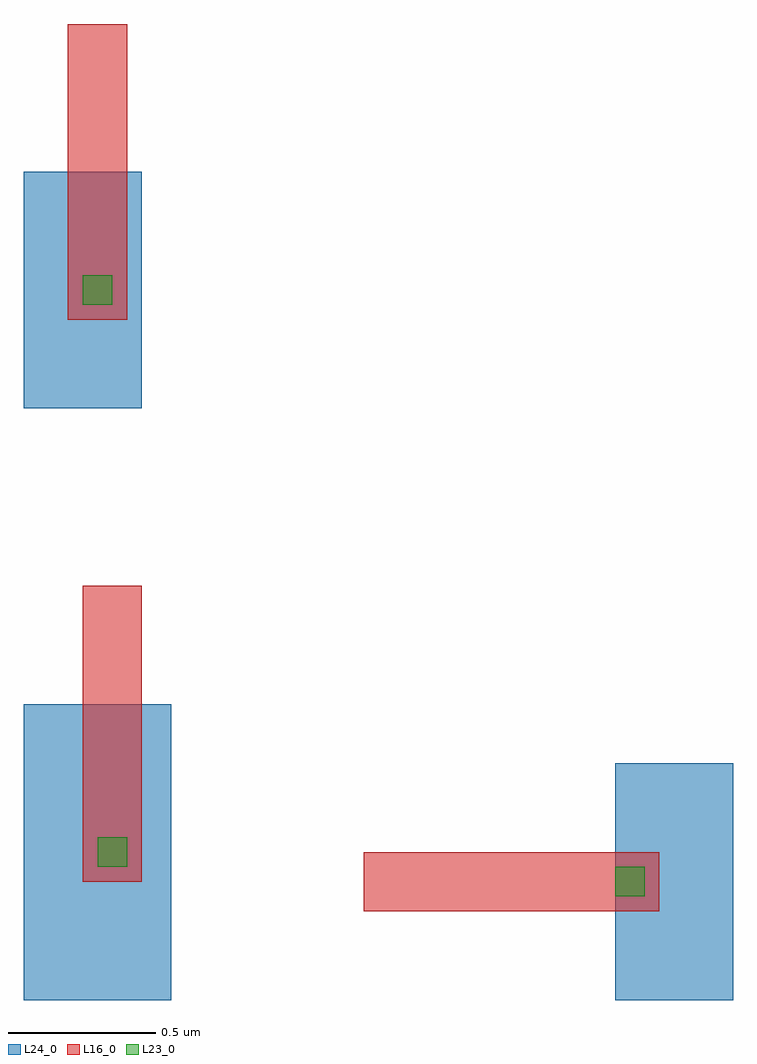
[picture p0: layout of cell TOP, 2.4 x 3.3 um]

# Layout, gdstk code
from math import pi, radians
import gdstk
lib = gdstk.Library(unit=1e-6, precision=1e-09)
def R(c, l, rs):  # rectangles x0, y0, x1, y1
    for r in rs: c.add(gdstk.rectangle(r[:2], r[2:], *l))
L16_0 = (16, 0)
L23_0 = (23, 0)
L24_0 = (24, 0)

c_a = lib.new_cell('A')
R(c_a, L16_0, [(0,0,0.2,1)])
R(c_a, L23_0, [(0.05,0.05,0.15,0.15)])

pd_w500_h1000 = lib.new_cell('PD_W500_H1000')
R(pd_w500_h1000, L24_0, [(0,0,0.5,1)])
pd_w500_h1000.add(gdstk.Reference(c_a, (0.2,0.4)))

pd_w400_h800 = lib.new_cell('PD_W400_H800')
R(pd_w400_h800, L24_0, [(0,0,0.4,0.8)])
pd_w400_h800.add(gdstk.Reference(c_a, (0.15,0.3)))

pd_w400_h800_1 = lib.new_cell('PD_W400_H800$1')
R(pd_w400_h800_1, L24_0, [(0,0,0.4,0.8)])
pd_w400_h800_1.add(gdstk.Reference(c_a, (0.15,0.3), rotation=pi/2))

top = lib.new_cell('TOP')
top.add(gdstk.Reference(pd_w500_h1000, (0,0)))
top.add(gdstk.Reference(pd_w400_h800, (0,2)))
top.add(gdstk.Reference(pd_w400_h800_1, (2,0)))

lib.write_gds('TOP.gds')
